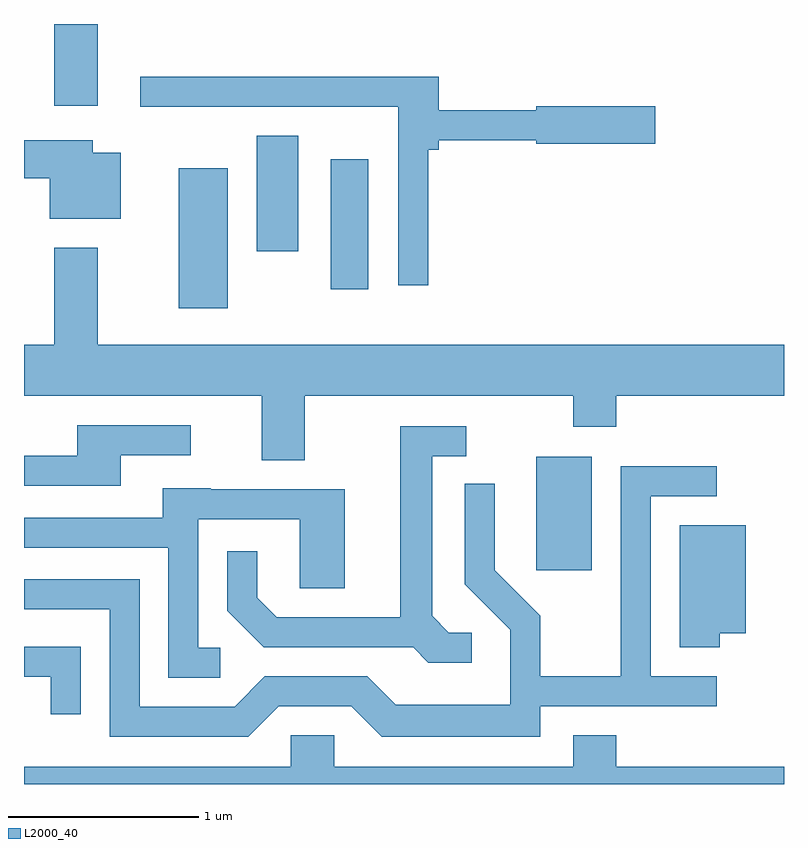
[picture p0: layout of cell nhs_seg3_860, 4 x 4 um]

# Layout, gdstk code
import gdstk
lib = gdstk.Library(unit=1e-6, precision=1e-09)
def R(c, l, rs):  # rectangles x0, y0, x1, y1
    for r in rs: c.add(gdstk.rectangle(r[:2], r[2:], *l))
def P(c, l, *ps):  # polygons
    for p in ps: c.add(gdstk.Polygon(p, *l))
L2000_40 = (2000, 40)

nhs_seg3_860 = lib.new_cell('nhs_seg3_860')
R(nhs_seg3_860, L2000_40, [(212.306,1205.016,212.599,1205.614), (210.426,1206.396,210.684,1207.134), (211.226,1206.496,211.424,1207.179), (210.836,1206.696,211.054,1207.304), (209.771,1207.461,209.999,1207.892)])
P(nhs_seg3_860, L2000_40, [(211.739,1207.231),(211.794,1207.231),(211.794,1207.281),(212.306,1207.281),(212.306,1207.261),(212.934,1207.261),(212.934,1207.459),(212.306,1207.459),(212.306,1207.439),(211.794,1207.439),(211.794,1207.614),(210.223,1207.614),(210.223,1207.456),(211.581,1207.456),(211.581,1206.518),(211.739,1206.518)],
  [(210.119,1207.214),(209.974,1207.214),(209.974,1207.279),(209.611,1207.279),(209.611,1207.081),(209.746,1207.081),(209.746,1206.866),(210.119,1206.866)],
  [(209.999,1206.714),(209.771,1206.714),(209.771,1206.204),(209.611,1206.204),(209.611,1205.936),(210.861,1205.936),(210.861,1205.596),(211.089,1205.596),(211.089,1205.936),(212.501,1205.936),(212.501,1205.771),(212.729,1205.771),(212.729,1205.936),(213.611,1205.936),(213.611,1206.204),(209.999,1206.204)],
  [(210.119,1205.621),(210.488,1205.621),(210.488,1205.779),(209.891,1205.779),(209.891,1205.619),(209.611,1205.619),(209.611,1205.461),(210.119,1205.461)],
  [(211.968,1204.689),(211.847,1204.689),(211.759,1204.777),(211.759,1205.616),(211.938,1205.616),(211.938,1205.774),(211.591,1205.774),(211.591,1204.769),(210.942,1204.769),(210.839,1204.872),(210.839,1205.118),(210.681,1205.118),(210.681,1204.804),(210.874,1204.611),(211.659,1204.611),(211.739,1204.531),(211.968,1204.531)],
  [(210.952,1204.301),(211.334,1204.301),(211.494,1204.141),(212.329,1204.141),(212.329,1204.301),(213.258,1204.301),(213.258,1204.459),(212.909,1204.459),(212.909,1205.406),(213.258,1205.406),(213.258,1205.564),(212.751,1205.564),(212.751,1204.459),(212.329,1204.459),(212.329,1204.777),(212.089,1205.017),(212.089,1205.473),(211.931,1205.473),(211.931,1204.944),(212.171,1204.704),(212.171,1204.309),(211.567,1204.309),(211.417,1204.459),(210.879,1204.459),(210.719,1204.299),(210.219,1204.299),(210.219,1204.969),(209.611,1204.969),(209.611,1204.811),(210.061,1204.811),(210.061,1204.141),(210.792,1204.141)],
  [(210.643,1204.609),(210.529,1204.609),(210.529,1205.286),(211.061,1205.286),(211.061,1204.921),(211.299,1204.921),(211.299,1205.444),(210.595,1205.444),(210.595,1205.449),(210.341,1205.449),(210.341,1205.294),(209.611,1205.294),(209.611,1205.136),(210.371,1205.136),(210.371,1204.451),(210.643,1204.451)],
  [(213.274,1204.686),(213.409,1204.686),(213.409,1205.254),(213.061,1205.254),(213.061,1204.611),(213.274,1204.611)],
  [(209.909,1204.614),(209.611,1204.614),(209.611,1204.456),(209.751,1204.456),(209.751,1204.258),(209.909,1204.258)],
  [(213.611,1203.984),(212.729,1203.984),(212.729,1204.149),(212.501,1204.149),(212.501,1203.984),(211.244,1203.984),(211.244,1204.149),(211.016,1204.149),(211.016,1203.984),(209.611,1203.984),(209.611,1203.892),(213.611,1203.892)])

lib.write_gds('nhs_seg3_860.gds')
